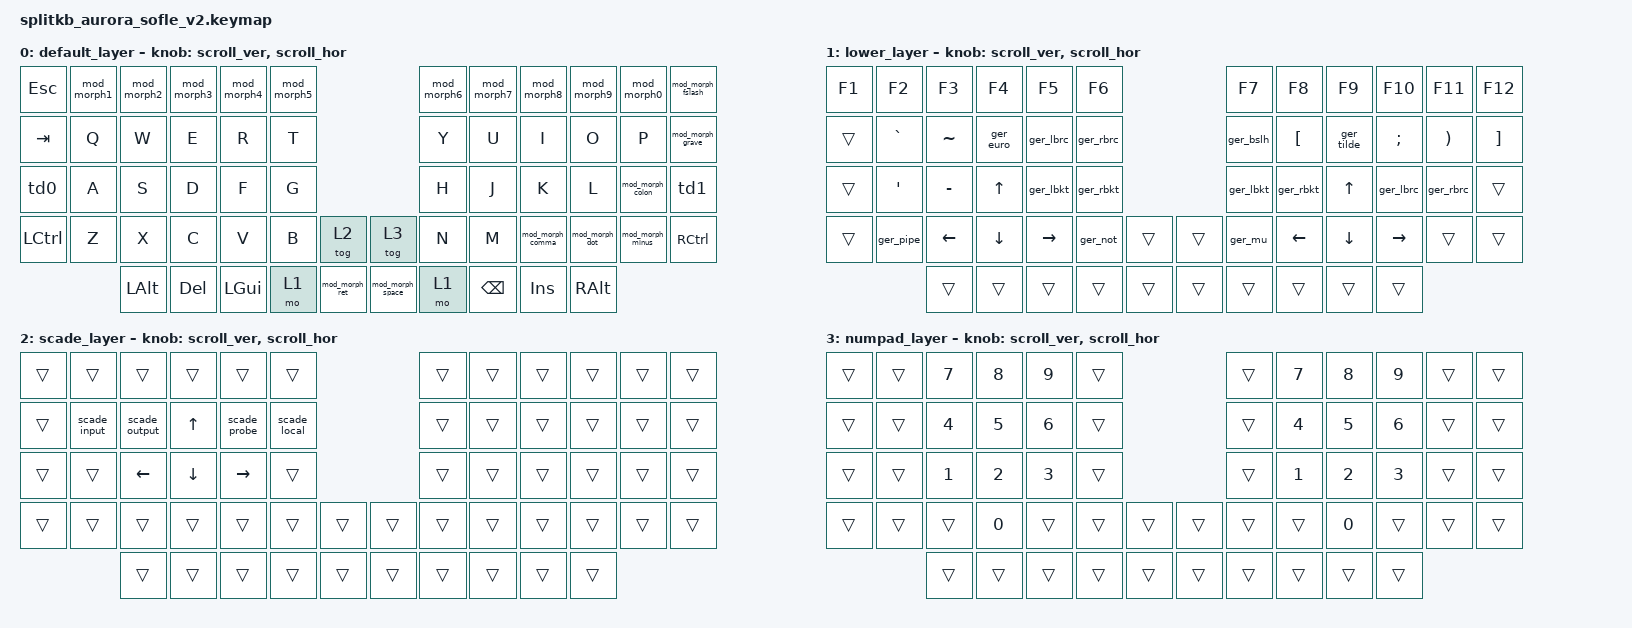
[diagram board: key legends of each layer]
/*
 * Copyright (c) 2023 The ZMK Contributors
 *
 * SPDX-License-Identifier: MIT
 */

#include <behaviors.dtsi>
#include <dt-bindings/zmk/keys.h>
#include <dt-bindings/zmk/bt.h>
#include <dt-bindings/zmk/ext_power.h>
#include <dt-bindings/zmk/pointing.h>

#define ZMK_POINTING_DEFAULT_SCRL_VAL 140


/ {

    macros {
        ger_at: ger_at {
            compatible = "zmk,behavior-macro";
            #binding-cells = <0>;
            bindings
                = <&macro_press &kp RALT>
                , <&macro_tap &kp Q>
                , <&macro_release &kp RALT>
                ;
        };

        ger_euro: ger_euro {
            compatible = "zmk,behavior-macro";
            #binding-cells = <0>;
            bindings
                = <&macro_press &kp RALT>
                , <&macro_tap &kp E>
                , <&macro_release &kp RALT>
                ;
        };

        ger_lbkt: ger_lbkt {
            compatible = "zmk,behavior-macro";
            #binding-cells = <0>;
            bindings
                = <&macro_press &kp RALT>
                , <&macro_tap &kp N8>
                , <&macro_release &kp RALT>
                ;
        };

        ger_rbkt: ger_rbkt {
            compatible = "zmk,behavior-macro";
            #binding-cells = <0>;
            bindings
                = <&macro_press &kp RALT>
                , <&macro_tap &kp N9>
                , <&macro_release &kp RALT>
                ;
        };

        ger_lbrc: ger_lbrc {
            compatible = "zmk,behavior-macro";
            #binding-cells = <0>;
            bindings
                = <&macro_press &kp RALT>
                , <&macro_tap &kp N7>
                , <&macro_release &kp RALT>
                ;
        };

        ger_rbrc: ger_rbrc {
            compatible = "zmk,behavior-macro";
            #binding-cells = <0>;
            bindings
                = <&macro_press &kp RALT>
                , <&macro_tap &kp N0>
                , <&macro_release &kp RALT>
                ;
        };

        ger_tilde: ger_tilde {
            compatible = "zmk,behavior-macro";
            #binding-cells = <0>;
            bindings
                = <&macro_press &kp RALT>
                , <&macro_tap &kp RBKT>
                , <&macro_release &kp RALT>
                ;
        };

        ger_bslh: ger_bslh {
            compatible = "zmk,behavior-macro";
            #binding-cells = <0>;
            bindings
                = <&macro_press &kp RALT>
                , <&macro_tap &kp MINUS>
                , <&macro_release &kp RALT>
                ;
        };

        ger_pipe: ger_pipe {
            compatible = "zmk,behavior-macro";
            #binding-cells = <0>;
            bindings
                = <&macro_press &kp RALT>
                , <&macro_tap &kp NUBS>
                , <&macro_release &kp RALT>
                ;
        };

        scade_input: scade_input {
            compatible = "zmk,behavior-macro";
            #binding-cells = <0>;
            bindings
                = <&macro_press &kp LCTRL>
                , <&macro_press &kp LSHFT>
                , <&macro_tap &kp I>
                , <&macro_release &kp LSHFT>
                , <&macro_release &kp LCTRL>
                ;
        };

        scade_output: scade_output {
            compatible = "zmk,behavior-macro";
            #binding-cells = <0>;
            bindings
                = <&macro_press &kp LCTRL>
                , <&macro_press &kp LSHFT>
                , <&macro_tap &kp O>
                , <&macro_release &kp LSHFT>
                , <&macro_release &kp LCTRL>
                ;
        };

        scade_local: scade_local {
            compatible = "zmk,behavior-macro";
            #binding-cells = <0>;
            bindings
                = <&macro_press &kp LCTRL>
                , <&macro_press &kp LSHFT>
                , <&macro_tap &kp L>
                , <&macro_release &kp LSHFT>
                , <&macro_release &kp LCTRL>
                ;
        };

        scade_probe: scade_probe {
            compatible = "zmk,behavior-macro";
            #binding-cells = <0>;
            bindings
                = <&macro_press &kp LCTRL>
                , <&macro_press &kp LSHFT>
                , <&macro_tap &kp B>
                , <&macro_release &kp LSHFT>
                , <&macro_release &kp LCTRL>
                ;
        };

        ger_not: ger_not {
            compatible = "zmk,behavior-macro";
            #binding-cells = <0>;
            bindings
                = <&macro_press &kp RALT>
                , <&macro_tap &kp N6>
                , <&macro_release &kp RALT>
                ;
        };

        ger_mu: ger_mu {
            compatible = "zmk,behavior-macro";
            #binding-cells = <0>;
            bindings
                = <&macro_press &kp RALT>
                , <&macro_tap &kp M>
                , <&macro_release &kp RALT>
                ;
        };
    };

    behaviors {
        mod_morph_space: space_ret {
            compatible = "zmk,behavior-mod-morph";
            #binding-cells = <0>;
            bindings = <&kp SPACE>, <&kp RET>;
            mods = <(MOD_LCTL|MOD_RCTL)>;
        };

        mod_morph_ret: ret_space {
            compatible = "zmk,behavior-mod-morph";
            #binding-cells = <0>;
            bindings = <&kp RET>, <&kp SPACE>;
            mods = <(MOD_LCTL|MOD_RCTL)>;
        };

        mod_morph1: one_exclemation {
            compatible = "zmk,behavior-mod-morph";
            #binding-cells = <0>;
            bindings = <&kp N1>, <&kp EXCL>;
            mods = <(MOD_LSFT|MOD_RSFT)>;
        };

        mod_morph2: two_doublequote {
            compatible = "zmk,behavior-mod-morph";
            #binding-cells = <0>;
            bindings = <&kp N2>, <&ger_at>;
            mods = <(MOD_LSFT|MOD_RSFT)>;
        };

        mod_morph3: three_hash {
            compatible = "zmk,behavior-mod-morph";
            #binding-cells = <0>;
            bindings = <&kp N3>, <&kp BSLH>;
            mods = <(MOD_LSFT|MOD_RSFT)>;
        };

        mod_morph4: four_dollar {
            compatible = "zmk,behavior-mod-morph";
            #binding-cells = <0>;
            bindings = <&kp N4>, <&kp DOLLAR>;
            mods = <(MOD_LSFT|MOD_RSFT)>;
        };

        mod_morph5: five_perc {
            compatible = "zmk,behavior-mod-morph";
            #binding-cells = <0>;
            bindings = <&kp N5>, <&kp PRCNT>;
            mods = <(MOD_LSFT|MOD_RSFT)>;
        };

        mod_morph6: six_hat {
            compatible = "zmk,behavior-mod-morph";
            #binding-cells = <0>;
            bindings = <&kp N6>, <&kp GRAVE>;
            mods = <(MOD_LSFT|MOD_RSFT)>;
        };

        mod_morph7: seven_amps {
            compatible = "zmk,behavior-mod-morph";
            #binding-cells = <0>;
            bindings = <&kp N7>, <&kp CARET>;
            mods = <(MOD_LSFT|MOD_RSFT)>;
        };

        mod_morph8: eight_star {
            compatible = "zmk,behavior-mod-morph";
            #binding-cells = <0>;
            bindings = <&kp N8>, <&kp RBRC>;
            mods = <(MOD_LSFT|MOD_RSFT)>;
        };

        mod_morph9: nine_rbrack {
            compatible = "zmk,behavior-mod-morph";
            #binding-cells = <0>;
            bindings = <&kp N9>, <&kp STAR>;
            mods = <(MOD_LSFT|MOD_RSFT)>;
        };

        mod_morph0: zero_lbrack {
            compatible = "zmk,behavior-mod-morph";
            #binding-cells = <0>;
            bindings = <&kp N0>, <&kp LPAR>;
            mods = <(MOD_LSFT|MOD_RSFT)>;
        };

        mod_morph_fslash: fslash_question {
            compatible = "zmk,behavior-mod-morph";
            #binding-cells = <0>;
            bindings = <&kp AMPS>, <&kp UNDER>;
            mods = <(MOD_LSFT|MOD_RSFT)>;
        };

        mod_morph_comma: comma_lessthan {
            compatible = "zmk,behavior-mod-morph";
            #binding-cells = <0>;
            bindings = <&kp COMMA>, <&kp NUBS>;
            mods = <(MOD_LSFT|MOD_RSFT)>;
        };

        mod_morph_dot: dot_greaterthan {
            compatible = "zmk,behavior-mod-morph";
            #binding-cells = <0>;
            bindings = <&kp DOT>, <&kp PIPE2>;
            mods = <(MOD_LSFT|MOD_RSFT)>;
        };

        mod_morph_colon: semicolon_colon {
            compatible = "zmk,behavior-mod-morph";
            #binding-cells = <0>;
            bindings = <&kp LT>, <&kp GT>;
            mods = <(MOD_LSFT|MOD_RSFT)>;
        };

        mod_morph_minus: minus_under {
            compatible = "zmk,behavior-mod-morph";
            #binding-cells = <0>;
            bindings = <&kp FSLH>, <&kp QMARK>;
            mods = <(MOD_LSFT|MOD_RSFT)>;
        };

        mod_morph_grave: grave_quote {
            compatible = "zmk,behavior-mod-morph";
            #binding-cells = <0>;
            bindings = <&kp PIPE>, <&kp AT>;
            mods = <(MOD_LSFT|MOD_RSFT)>;
        };

        mod_morph_mouse: lclk_mclk {
            compatible = "zmk,behavior-mod-morph";
            #binding-cells = <0>;
            bindings = <&mkp LCLK>, <&mkp MCLK>;
            mods = <(MOD_LCTL|MOD_RCTL)>;
        };

        mo_tog: behavior_mo_tog {
            compatible = "zmk,behavior-hold-tap";
            #binding-cells = <2>;
            flavor = "hold-preferred";
            tapping-term-ms = <200>;
            bindings = <&mo>, <&tog>;
        };

        td0: tap_dance_shift_left {
            compatible = "zmk,behavior-tap-dance";
            #binding-cells = <0>;
            tapping-term-ms = <200>;
            bindings = <&kp LSHFT>, <&kp CAPS>;
        };

        td1: tap_dance_shift_right {
            compatible = "zmk,behavior-tap-dance";
            #binding-cells = <0>;
            tapping-term-ms = <200>;
            bindings = <&kp RSHFT>, <&kp CAPS>;
        };

        tdl1: tap_dance_layer1_switch {
            compatible = "zmk,behavior-tap-dance";
            tapping-term-ms = <200>;
            #binding-cells = <0>;
            bindings = <&mo 1>, <&tog 2>;
        };

        tdl2: tap_dance_layer2_switch {
            compatible = "zmk,behavior-tap-dance";
            tapping-term-ms = <200>;
            #binding-cells = <0>;
            bindings = <&mo 1>, <&tog 3>;
        };

        scroll_ver: scroll_ver {
            compatible = "zmk,behavior-sensor-rotate";
            #sensor-binding-cells = <0>;
            bindings = <&msc SCRL_UP>, <&msc SCRL_DOWN>;
            tap-ms = <20>;
        };

        scroll_hor: scroll_hor {
            compatible = "zmk,behavior-sensor-rotate";
            #sensor-binding-cells = <0>;
            bindings = <&msc SCRL_LEFT>, <&msc SCRL_RIGHT>;
            tap-ms = <20>;
        };
    };


    keymap {
        compatible = "zmk,keymap";

        default_layer {
// ----------------------------------------------------------------------------------------------------------------
// |  ESC  |  1  |  2  |  3   |  4   |  5   |                |  6   |  7    |  8   |  9   |   0   |   /   |
// |  TAB  |  Q  |  W  |  E   |  R   |  T   |                |  Z   |  U    |  I   |  O   |   P   |   '   |
// | SHIFT |  A  |  S  |  D   |  F   |  G   |                |  H   |  J    |  K   |  L   |   ;   | SHIFT |
// |  CTRL |  Y  |  X  |  C   |  V   |  B   |SCADE |  |NUMPAD|  N   |  M   |  ,    |  .   |  -    |  CTRL |
//               | ALT |DELETE| GUI  | LOWER|SPACE |  |ENTER | LOWER| BSPC |INSERT | RALT |
            bindings = <
&kp ESC   &mod_morph1 &mod_morph2 &mod_morph3 &mod_morph4 &mod_morph5                              &mod_morph6 &mod_morph7 &mod_morph8      &mod_morph9    &mod_morph0       &mod_morph_fslash
&kp TAB   &kp Q       &kp W       &kp E       &kp R       &kp T                                    &kp Y       &kp U       &kp I            &kp O          &kp P             &mod_morph_grave
&td0      &kp A       &kp S       &kp D       &kp F       &kp G                                    &kp H       &kp J       &kp K            &kp L          &mod_morph_colon  &td1
&kp LCTRL &kp Z       &kp X       &kp C       &kp V       &kp B &tog 2            &tog 3           &kp N       &kp M       &mod_morph_comma &mod_morph_dot &mod_morph_minus &kp RCTRL
                      &kp LALT    &kp DEL     &kp LGUI    &mo 1 &mod_morph_ret    &mod_morph_space &mo 1       &kp BSPC         &kp INS        &kp RALT
            >;

            sensor-bindings =
                <&scroll_ver>,
                <&scroll_hor>;
        };

        lower_layer {
// ---------------------------------------------------------------------------------------------------------
// |  F1  |  F2  |  F3  |  F4  |  F5  |  F6  |                   |  F7  |  F8  |  F9  |  F10 |  F11 |  F12 |
// |      |  ^   |  °   | EURO |  {   |  }   |                   |  \   |  ue  |  ~   |  oe  |  =   |  +   |
// |      |  ae  |  ss  |  ^   |  [   |  ]   |                   |  [   |  ]   |  ^   |  {   |  }   |      |
// |      |  "|" |  <-  |  v   |  ->  |  ¬   |        |  |       |  µ   |  <-  |  v   |  ->  |      |      |
//               |      |      |      |      |        |  |       |      |      |      |      |
            bindings = <
&kp F1 &kp F2    &kp F3    &kp F4    &kp F5    &kp F6                     &kp F7    &kp F8    &kp F9     &kp F10   &kp F11   &kp F12
&trans &kp GRAVE &kp TILDE &ger_euro &ger_lbrc &ger_rbrc                  &ger_bslh &kp LBKT  &ger_tilde &kp SEMI  &kp RPAR  &kp RBKT
&trans &kp SQT   &kp MINUS &kp UP    &ger_lbkt &ger_rbkt                  &ger_lbkt &ger_rbkt &kp UP     &ger_lbrc &ger_rbrc &trans
&trans &ger_pipe &kp LEFT  &kp DOWN  &kp RIGHT &ger_not  &trans    &trans &ger_mu   &kp LEFT  &kp DOWN   &kp RIGHT &trans    &trans
                 &trans    &trans    &trans    &trans    &trans    &trans &trans    &trans    &trans     &trans
            >;

            sensor-bindings =
                <&scroll_ver>,
                <&scroll_hor>;
        };

        scade_layer {
            bindings = <
&trans  &trans        &trans         &trans    &trans        &trans                          &trans  &trans  &trans  &trans  &trans  &trans
&trans  &scade_input  &scade_output  &kp UP    &scade_probe  &scade_local                    &trans  &trans  &trans  &trans  &trans  &trans
&trans  &trans        &kp LEFT       &kp DOWN  &kp RIGHT     &trans                          &trans  &trans  &trans  &trans  &trans  &trans
&trans  &trans        &trans         &trans    &trans        &trans        &trans    &trans  &trans  &trans  &trans  &trans  &trans  &trans
                      &trans         &trans    &trans        &trans        &trans    &trans  &trans  &trans  &trans  &trans
            >;

            sensor-bindings =
                <&scroll_ver>,
                <&scroll_hor>;
        };

        numpad_layer {
            bindings = <
&trans  &trans  &kp N7  &kp N8  &kp N9  &trans                    &trans  &kp N7  &kp N8  &kp N9  &trans  &trans
&trans  &trans  &kp N4  &kp N5  &kp N6  &trans                    &trans  &kp N4  &kp N5  &kp N6  &trans  &trans
&trans  &trans  &kp N1  &kp N2  &kp N3  &trans                    &trans  &kp N1  &kp N2  &kp N3  &trans  &trans
&trans  &trans  &trans  &kp N0  &trans  &trans  &trans    &trans  &trans  &trans  &kp N0  &trans  &trans  &trans
                &trans  &trans  &trans  &trans  &trans    &trans  &trans  &trans  &trans  &trans
            >;

            sensor-bindings =
                <&scroll_ver>,
                <&scroll_hor>;
        };

//        scroll_layer {
//            bindings = <
//&trans  &trans  &trans  &trans  &trans  &trans                    &trans  &trans  &trans  &trans  &trans  &trans
//&trans  &trans  &trans  &trans  &trans  &trans                    &trans  &trans  &trans  &trans  &trans  &trans
//&trans  &trans  &trans  &trans  &trans  &trans                    &trans  &trans  &trans  &trans  &trans  &trans
//&trans  &trans  &trans  &trans  &trans  &trans  &trans    &trans  &trans  &trans  &trans  &trans  &trans  &trans
//                &trans  &trans  &trans  &trans  &trans    &trans  &trans  &trans  &trans  &trans
//            >;
//
//            sensor-bindings =
//                <&scroll_ver>,
//                <&scroll_hor>;
//        };
    };
};
